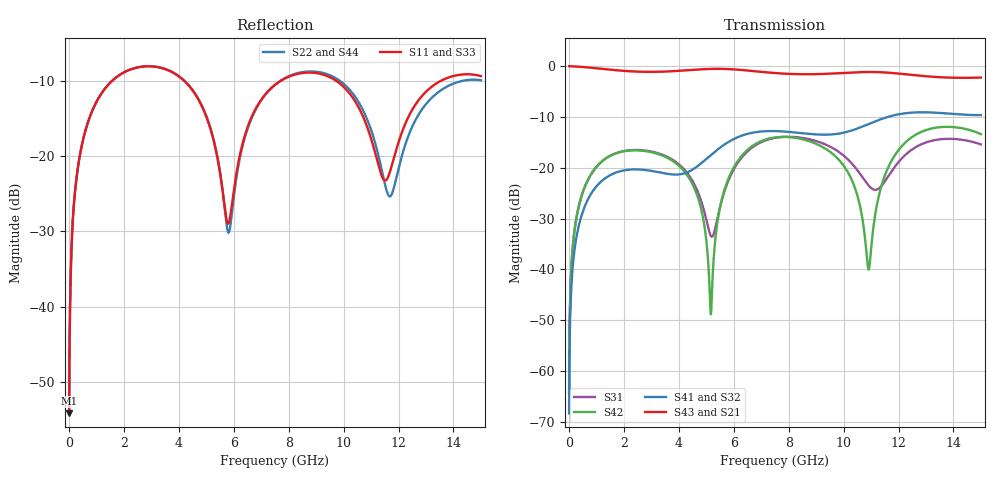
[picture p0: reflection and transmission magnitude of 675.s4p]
! Created with skrf 1.8.0 (http://scikit-rf.org).
# GHz S RI R 50.0
!freq ReS11 ImS11 ReS12 ImS12 ReS13 ImS13
! ReS14 ImS14
! ReS21 ImS21 ReS22 ImS22 ReS23 ImS23
! ReS24 ImS24
! ReS31 ImS31 ReS32 ImS32 ReS33 ImS33
! ReS34 ImS34
! ReS41 ImS41 ReS42 ImS42 ReS43 ImS43
! ReS44 ImS44
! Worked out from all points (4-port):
!   2499 points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, 5 MHz to 15 GHz, reference 50 ohm
!   strongest paths, dB at 5 MHz, 3.476 GHz, 7.19 GHz, 11.1 GHz, 15 GHz:
!     S43: 0.0, -1.1, -1.2, -1.2, -2.3
!     S21: 0.0, -1.1, -1.2, -1.2, -2.2
!     S41: -68.3, -21.1, -12.8, -11.0, -9.6
!     S32: -68.3, -21.1, -12.8, -11.0, -9.7
!     S42: -64.5, -17.8, -14.4, -31.2, -13.4
!     S31: -64.5, -17.6, -14.6, -24.3, -15.4
!   lowest |S11| = -54.2 dB at 5 MHz (marker M1), VSWR 1.00, Z = 50.2 + j0.118 ohm
!   |S11| at or under -10 dB: start of sweep to 1.564 GHz; 4.203 GHz to 7.7 GHz (3.497 GHz wide, 58.8 % of centre); 9.741 GHz to 13.53 GHz (3.789 GHz wide, 32.6 % of centre)
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0.005  0.00155 0.00118  0.9984 -0.00302  7.69e-05 0.000594  -7.48e-05 -0.000376
       0.9984 -0.00302  0.00155 0.00118  -7.48e-05 -0.000376  7.68e-05 0.000594
       7.69e-05 0.000594  -7.48e-05 -0.000376  0.00155 0.00118  0.9984 -0.00302
       -7.48e-05 -0.000376  7.68e-05 0.000594  0.9984 -0.00302  0.00155 0.00118
0.3126303  0.0218 0.078  0.9703 -0.1881  0.00971 0.0355  -0.00806 -0.0223
           0.9703 -0.1881  0.0218 0.078  -0.00806 -0.0223  0.00955 0.0355
           0.00971 0.0355  -0.00806 -0.0223  0.0218 0.0781  0.9703 -0.1881
           -0.00806 -0.0223  0.00955 0.0355  0.9703 -0.1881  0.0218 0.0781
1.519383  0.2472 0.188  0.5987 -0.6999  0.1158 0.0634  -0.0838 -0.0141
          0.5987 -0.6999  0.2478 0.1877  -0.0838 -0.0142  0.1136 0.0659
          0.1158 0.0634  -0.0838 -0.0142  0.2472 0.1879  0.5987 -0.6998
          -0.0838 -0.0141  0.1136 0.0659  0.5987 -0.6998  0.2477 0.1877
5.164652  0.0782 -0.127  -0.8542 -0.3883  -0.0193 -0.00923  -0.0505 0.1231
          -0.8542 -0.3883  0.0752 -0.1311  -0.0518 0.1225  -0.00343 -0.00113
          -0.0193 -0.00923  -0.0518 0.1225  0.0781 -0.1269  -0.8542 -0.3884
          -0.0505 0.1231  -0.00343 -0.00113  -0.8542 -0.3884  0.0752 -0.131
9.07253  0.3517 -0.0513  0.0385 0.8324  0.1477 -0.1036  0.1967 -0.0797
         0.0385 0.8324  0.3591 -0.0556  0.1964 -0.0754  0.1521 -0.0724
         0.1477 -0.1036  0.1964 -0.0754  0.3496 -0.0543  0.0381 0.8334
         0.1967 -0.0797  0.1521 -0.0724  0.0381 0.8334  0.3561 -0.052
10.9108  0.1047 -0.1034  0.7451 0.4568  -0.0542 -0.0393  0.1296 -0.2359
         0.7451 0.4568  0.1028 -0.1306  0.1357 -0.2321  0.00991 0.000623
         -0.0542 -0.0393  0.1357 -0.2321  0.097 -0.1023  0.7462 0.4567
         0.1296 -0.2359  0.00991 0.000623  0.7462 0.4567  0.1047 -0.1236
15  0.3313 -0.0796  0.00418 -0.7722  0.1313 -0.1071  -0.3211 0.0729
    0.00418 -0.7722  0.3179 -0.038  -0.3212 0.0622  0.1568 -0.1458
    0.1313 -0.1071  -0.3212 0.0622  0.335 -0.0804  0.00628 -0.7714
    -0.3211 0.0729  0.1568 -0.1458  0.00628 -0.7714  0.3187 -0.0345
